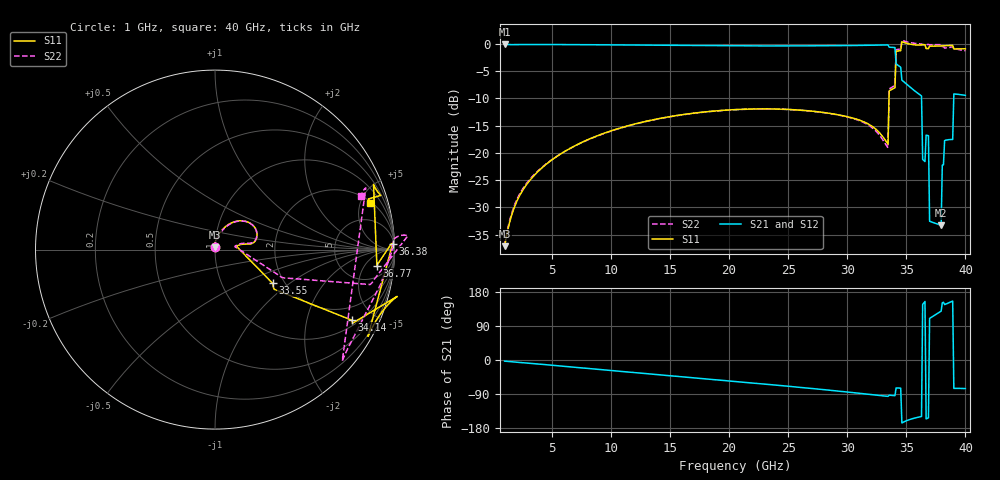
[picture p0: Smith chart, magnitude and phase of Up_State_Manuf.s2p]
! Touchstone file exported from HFSS 2020.2.0
!  File:  C:/Users/user/Desktop/Manuf_Based.aedt
!  Generated:  9:09:36 PM  Nov 22, 2020
!  Design:  EnguzeldUpp
!  Project:  Manuf_Based
!  Setup:  Setup1
!  Solution:  Sweep
! Variables:
!  Bridge_Height = 1u
!  L_Bridge = 400um
!  L_Gold_Recess = 300um
!  L_Model = 780um
!  L_Recess = 180um
!  L_Upper_Pad = 60um
!  L_tl_Unmatched = 600um
!  Lambda = 11530479.1538nm
!  W_Anchor = 60um
!  W_Bridge = 60um
!  W_Gold_Recess = 60um
!  W_Lower_Pad = 85um
!  W_Model = 2200um
!  W_Recess = 400um
!  W_Upper_Pad = 85um
!  W_gap = 100um
!  W_real_pad = 60um
!  W_signal = 85um
!  h_Recess = 1.5um
!  t_dielectric = 0.5um
!  t_gold = 1um
!  t_substrate = 500um
# GHZ S MA R 50.000000
! Terminal data exported
! Port[1] = 1
! Port[2] = 2
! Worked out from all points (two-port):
!   400 points, 1 GHz to 40 GHz, reference 50 ohm
!   highest |S21| = -0.09 dB at 1 GHz (marker M1); lowest = -33.3 dB at 37.95 GHz (marker M2)
!   |S21| within 3 dB of the highest: start of sweep to 34.12 GHz
!   lowest |S11| = -37.1 dB at 1 GHz (marker M3), VSWR 1.03, Z = 49.8 + j1.38 ohm
!   |S11| at or under -10 dB: start of sweep to 33.53 GHz
!   |S22| runs from -36.9 to 0.6 dB; largest |S21 - S12| = 5.8e-15
!   S11 on the Smith chart (normalised r, x): 1 GHz: 1.00, +0.03; 33.55 GHz: 1.74, -0.76; 34.14 GHz: 1.26, -3.71; 36.38 GHz: 15, +54; 36.77 GHz: 10, -10; 40 GHz: 2.13, +6.05
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1  0.01396 95.9  0.9898 -3.1  0.9898 -3.1  0.01424 92.9
! Gamma 2.88913739131664 38.6513053188914 2.89787239973005 38.6999068706566
! Port Impedance 50 0 50 0
2.857143  0.05124 84.6  0.9884 -7.8  0.9884 -7.8  0.05265 82.0
7.548872  0.1253 68.4  0.9858 -21.0  0.9858 -21.0  0.1249 67.2
14  0.2061 50.9  0.9724 -38.8  0.9724 -38.8  0.2054 50.4
20.54887  0.2502 33.3  0.9616 -56.7  0.9616 -56.7  0.2496 33.2
27  0.2421 16.2  0.9623 -75.1  0.9623 -75.1  0.2416 16.5
33.45113  0.1208 8.8  0.9806 -96.0  0.9806 -96.0  0.1115 8.7
33.54887  0.3719 -30.3  0.935 -92.9  0.935 -92.9  0.3866 -22.0
34.03759  0.3966 -33.8  0.9271 -94.1  0.9271 -94.1  0.4166 -22.2
34.13534  0.8561 -27.3  0.6576 -73.8  0.6576 -73.8  0.8856 -12.7
34.52632  0.8688 -28.2  0.6114 -74.5  0.6114 -74.5  0.9011 -10.8
34.62406  1.048 -14.4  0.4658 -166.1  0.4658 -166.1  1.078 4.1
36.28571  0.9797 -29.5  0.3336 -149.0  0.3336 -149.0  0.9982 3.3
36.38346  0.9903 2.0  0.0872 146.6  0.0872 146.6  0.9847 -0.2
36.77444  0.9082 -5.6  0.145 -153.9  0.145 -153.9  0.9904 0.4
36.87218  0.9074 -6.1  0.144 -152.4  0.144 -152.4  0.9901 0.4
36.96992  0.9548 22.4  0.02365 109.7  0.02365 109.7  0.9843 -0.1
37.94737  0.9596 20.1  0.02169 129.0  0.02169 129.0  0.9866 -0.3
38.2406  0.9648 19.0  0.1298 146.4  0.1298 146.4  0.9181 -34.8
38.92481  0.9712 18.1  0.1331 155.6  0.1331 155.6  0.9416 -41.1
39.02256  0.9001 18.3  0.348 -74.9  0.348 -74.9  0.9077 22.3
40  0.9037 16.8  0.3379 -75.4  0.3379 -75.4  0.8686 20.0
